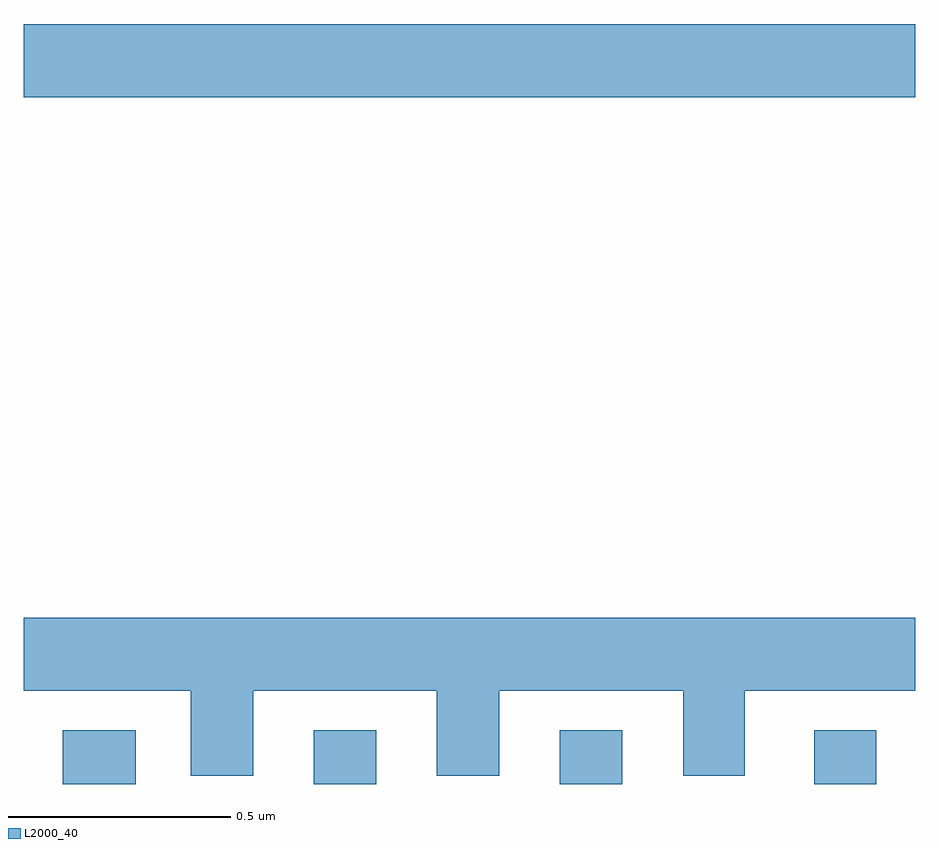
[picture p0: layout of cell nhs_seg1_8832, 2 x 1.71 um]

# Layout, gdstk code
import gdstk
lib = gdstk.Library(unit=1e-6, precision=1e-09)
def R(c, l, rs):  # rectangles x0, y0, x1, y1
    for r in rs: c.add(gdstk.rectangle(r[:2], r[2:], *l))
def P(c, l, *ps):  # polygons
    for p in ps: c.add(gdstk.Polygon(p, *l))
L2000_40 = (2000, 40)

nhs_seg1_8832 = lib.new_cell('nhs_seg1_8832')
R(nhs_seg1_8832, L2000_40, [(221.087,542.199,221.251,542.32), (221.651,542.199,221.791,542.32), (222.203,542.199,222.343,542.32), (222.773,542.199,222.913,542.32), (221,543.74,223,543.904)])
P(nhs_seg1_8832, L2000_40, [(221.515,542.408),(221.927,542.408),(221.927,542.218),(222.067,542.218),(222.067,542.408),(222.479,542.408),(222.479,542.218),(222.618,542.218),(222.618,542.408),(223,542.408),(223,542.572),(221,542.572),(221,542.408),(221.375,542.408),(221.375,542.218),(221.515,542.218)])

lib.write_gds('nhs_seg1_8832.gds')
